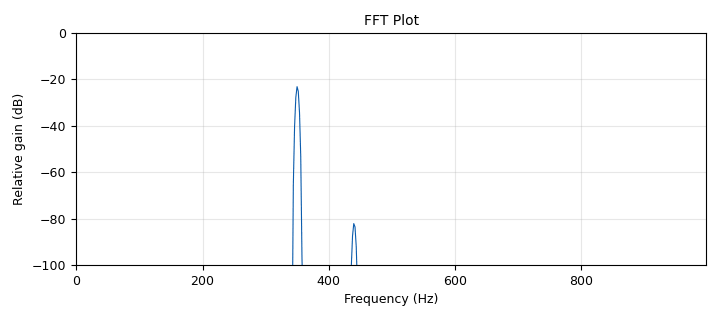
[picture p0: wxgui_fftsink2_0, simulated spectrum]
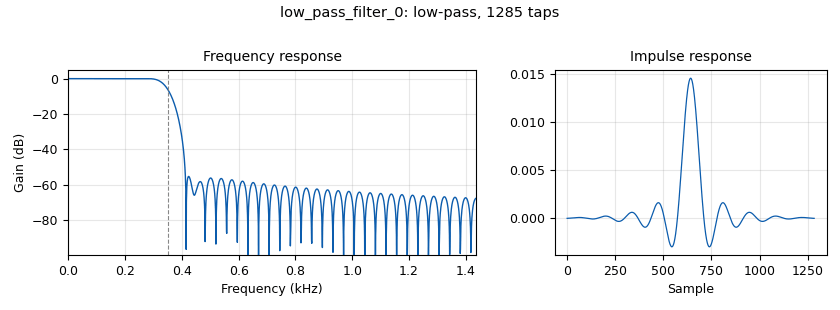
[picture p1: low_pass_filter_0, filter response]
<?xml version='1.0' encoding='utf-8'?>
<flow_graph>
<block>
<key>options</key>
<param><key>id</key><value>top_block</value></param>
<param><key>generate_options</key><value>wx_gui</value></param>
<param><key>category</key><value>Custom</value></param>
</block>
<block>
<key>variable</key>
<param><key>id</key><value>new_rate</value></param>
<param><key>value</key><value>2000</value></param>
</block>
<block>
<key>variable</key>
<param><key>id</key><value>samp_rate</value></param>
<param><key>value</key><value>48000</value></param>
</block>
<block>
<key>analog_sig_source_x</key>
<param><key>id</key><value>analog_sig_source_x_0</value></param>
<param><key>type</key><value>float</value></param>
<param><key>samp_rate</key><value>samp_rate</value></param>
<param><key>waveform</key><value>analog.GR_COS_WAVE</value></param>
<param><key>freq</key><value>350</value></param>
<param><key>amp</key><value>0.4</value></param>
<param><key>offset</key><value>0</value></param>
</block>
<block>
<key>audio_sink</key>
<param><key>id</key><value>audio_sink_0</value></param>
<param><key>samp_rate</key><value>samp_rate</value></param>
</block>
<block>
<key>blocks_add_xx</key>
<param><key>id</key><value>blocks_add_xx_0</value></param>
<param><key>type</key><value>float</value></param>
</block>
<block>
<key>wxgui_scopesink2</key>
<param><key>id</key><value>wxgui_scopesink2_0</value></param>
<param><key>_enabled</key><value>False</value></param>
<param><key>type</key><value>float</value></param>
<param><key>title</key><value>Scope Plot</value></param>
<param><key>samp_rate</key><value>samp_rate</value></param>
<param><key>v_scale</key><value>0</value></param>
<param><key>v_offset</key><value>0</value></param>
<param><key>t_scale</key><value>0</value></param>
<param><key>ac_couple</key><value>False</value></param>
<param><key>xy_mode</key><value>False</value></param>
<param><key>num_inputs</key><value>1</value></param>
<param><key>trig_mode</key><value>wxgui.TRIG_MODE_AUTO</value></param>
<param><key>y_axis_label</key><value>Counts</value></param>
</block>
<block>
<key>rational_resampler_xxx</key>
<param><key>id</key><value>rational_resampler_xxx_0</value></param>
<param><key>type</key><value>fff</value></param>
<param><key>interp</key><value>new_rate</value></param>
<param><key>decim</key><value>samp_rate</value></param>
<param><key>taps</key><value></value></param>
</block>
<block>
<key>wxgui_fftsink2</key>
<param><key>id</key><value>wxgui_fftsink2_0</value></param>
<param><key>type</key><value>float</value></param>
<param><key>title</key><value>FFT Plot</value></param>
<param><key>samp_rate</key><value>new_rate</value></param>
<param><key>baseband_freq</key><value>0</value></param>
<param><key>y_per_div</key><value>10</value></param>
<param><key>y_divs</key><value>10</value></param>
<param><key>ref_level</key><value>0</value></param>
<param><key>ref_scale</key><value>2.0</value></param>
<param><key>fft_size</key><value>1024</value></param>
<param><key>fft_rate</key><value>15</value></param>
<param><key>peak_hold</key><value>False</value></param>
<param><key>average</key><value>False</value></param>
<param><key>avg_alpha</key><value>0</value></param>
<param><key>win</key><value>None</value></param>
<param><key>freqvar</key><value>None</value></param>
</block>
<block>
<key>analog_sig_source_x</key>
<param><key>id</key><value>analog_sig_source_x_1</value></param>
<param><key>type</key><value>float</value></param>
<param><key>samp_rate</key><value>samp_rate</value></param>
<param><key>waveform</key><value>analog.GR_COS_WAVE</value></param>
<param><key>freq</key><value>440</value></param>
<param><key>amp</key><value>0.4</value></param>
<param><key>offset</key><value>0</value></param>
</block>
<block>
<key>low_pass_filter</key>
<param><key>id</key><value>low_pass_filter_0</value></param>
<param><key>type</key><value>fir_filter_fff</value></param>
<param><key>decim</key><value>1</value></param>
<param><key>gain</key><value>1</value></param>
<param><key>samp_rate</key><value>samp_rate</value></param>
<param><key>cutoff_freq</key><value>350</value></param>
<param><key>width</key><value>90</value></param>
<param><key>win</key><value>firdes.WIN_HAMMING</value></param>
</block>
<connection><source_block_id>low_pass_filter_0</source_block_id><sink_block_id>wxgui_scopesink2_0</sink_block_id><source_key>0</source_key><sink_key>0</sink_key></connection>
<connection><source_block_id>low_pass_filter_0</source_block_id><sink_block_id>audio_sink_0</sink_block_id><source_key>0</source_key><sink_key>0</sink_key></connection>
<connection><source_block_id>blocks_add_xx_0</source_block_id><sink_block_id>low_pass_filter_0</sink_block_id><source_key>0</source_key><sink_key>0</sink_key></connection>
<connection><source_block_id>analog_sig_source_x_1</source_block_id><sink_block_id>blocks_add_xx_0</sink_block_id><source_key>0</source_key><sink_key>1</sink_key></connection>
<connection><source_block_id>analog_sig_source_x_0</source_block_id><sink_block_id>blocks_add_xx_0</sink_block_id><source_key>0</source_key><sink_key>0</sink_key></connection>
<connection><source_block_id>rational_resampler_xxx_0</source_block_id><sink_block_id>wxgui_fftsink2_0</sink_block_id><source_key>0</source_key><sink_key>0</sink_key></connection>
<connection><source_block_id>low_pass_filter_0</source_block_id><sink_block_id>rational_resampler_xxx_0</sink_block_id><source_key>0</source_key><sink_key>0</sink_key></connection>
</flow_graph>
